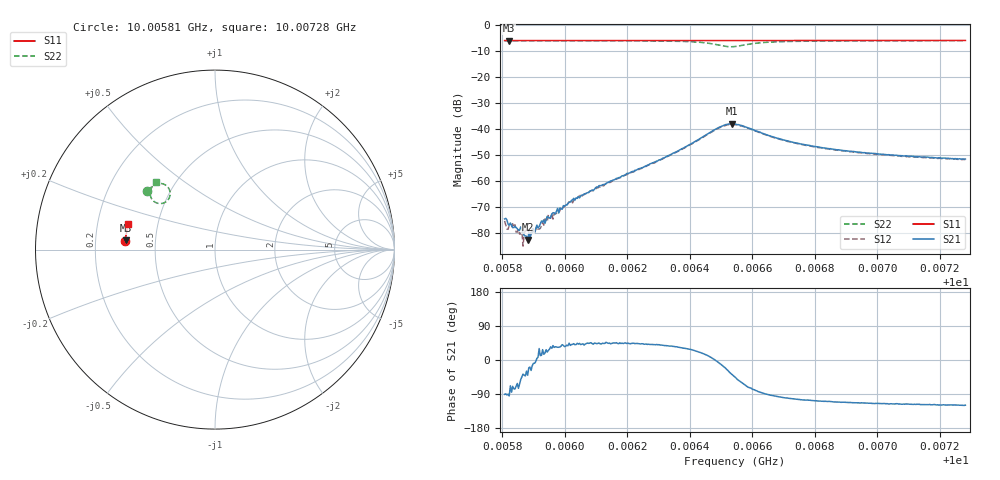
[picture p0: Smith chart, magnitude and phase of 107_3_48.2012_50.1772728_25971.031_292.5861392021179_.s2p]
#  HZ  S  RI  R  50.00
! Rohde & Schwarz Vector Network Analyzer
! Rohde-Schwarz,ZNB20-2Port,1311601062101988,3.16
! Created: UTC 3/20/2024, 11:40:51 AM
! freq[Hz]  re:S11  im:S11  re:S21  im:S21  re:S12  im:S12  re:S22  im:S22
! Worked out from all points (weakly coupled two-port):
!   401 points, 10.00581 GHz to 10.00728 GHz, reference 50 ohm
!   highest |S21| = -38.09 dB at 10.00653 GHz (marker M1); lowest = -82.7 dB at 10.00588 GHz (marker M2)
!   lowest |S11| = -6.0 dB at 10.00582 GHz (marker M3), VSWR 3.01, Z = 16.7 + j2.27 ohm
!   |S11| at or under -10 dB: nowhere
!   |S22| runs from -8.4 to -6.0 dB; largest |S21 - S12| = 0.00089
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1.0005807e10  -0.4987 0.05  -1.99e-06 -0.000183  2.05e-05 -0.000166  -0.3762 0.3259
1.0005822e10  -0.4985 0.0511  -1.18e-05 -0.000138  8.1e-06 -0.000137  -0.3754 0.3267
1.0005833e10  -0.4986 0.0517  4.35e-05 -0.000116  4.44e-05 -0.000141  -0.3749 0.3276
1.0005852e10  -0.4986 0.0531  2.95e-05 -0.000107  8.19e-05 -7.99e-05  -0.3738 0.3287
1.0005881e10  -0.4985 0.0549  5.58e-05 -4.73e-05  0.0001 -4.46e-05  -0.3724 0.3307
1.0005911e10  -0.4982 0.0569  0.000139 9.64e-06  0.000128 2.74e-05  -0.3705 0.3326
1.0005925e10  -0.4981 0.0578  0.000163 3.56e-05  0.000129 3.58e-05  -0.3698 0.3336
1.0005944e10  -0.498 0.059  0.000192 7.31e-05  0.000132 9.38e-05  -0.3686 0.3347
1.000597e10  -0.4977 0.0608  0.000186 0.00013  0.000197 0.000114  -0.3671 0.3364
1.0006021e10  -0.4975 0.0639  0.000316 0.000271  0.000299 0.000273  -0.3637 0.34
1.0006055e10  -0.4973 0.0662  0.000394 0.00035  0.000346 0.000348  -0.3614 0.3423
1.0006106e10  -0.4969 0.0695  0.000544 0.000522  0.000507 0.000515  -0.3574 0.3461
1.0006302e10  -0.4952 0.0822  0.00191 0.00163  0.00179 0.00165  -0.3335 0.3627
1.0006449e10  -0.4935 0.0918  0.0072 0.00192  0.00692 0.00217  -0.277 0.3605
1.0006501e10  -0.4924 0.0947  0.0109 -0.00231  0.0107 -0.00172  -0.2496 0.3147
1.0006534e10  -0.4921 0.0964  0.00994 -0.00751  0.0101 -0.00672  -0.2688 0.2698
1.0006545e10  -0.492 0.0968  0.00867 -0.00877  0.00886 -0.00805  -0.2831 0.2608
1.0006626e10  -0.4921 0.1019  0.000694 -0.00853  0.00108 -0.00822  -0.3543 0.2853
1.0006696e10  -0.4915 0.1065  -0.000933 -0.00612  -0.000595 -0.00605  -0.3614 0.3141
1.0006792e10  -0.4902 0.1128  -0.00135 -0.00445  -0.00112 -0.00442  -0.3572 0.3356
1.0007039e10  -0.4868 0.1284  -0.00138 -0.00283  -0.00122 -0.00284  -0.3421 0.3619
1.0007282e10  -0.4832 0.1438  -0.00127 -0.00227  -0.00116 -0.00227  -0.3285 0.3778
